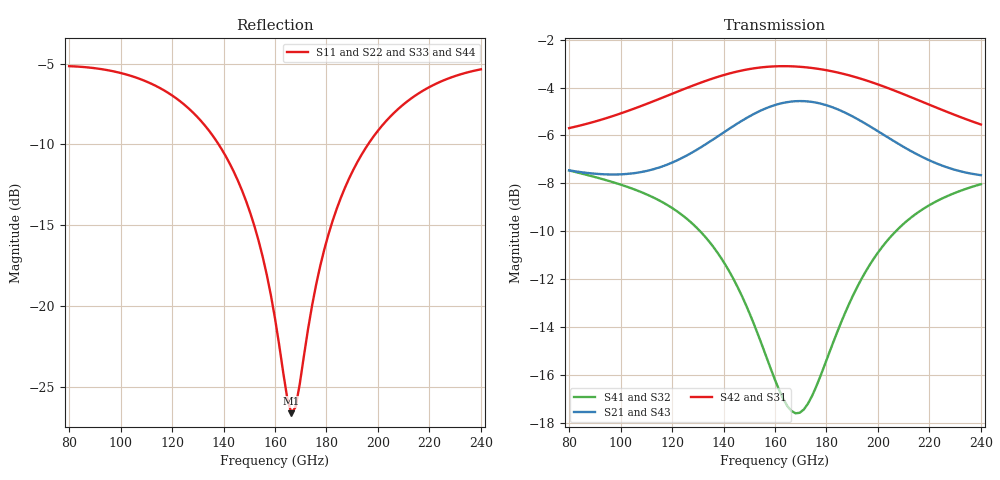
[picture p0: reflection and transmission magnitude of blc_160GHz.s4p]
#  GHZ S DB R 50
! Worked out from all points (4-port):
!   101 points, 80 GHz to 240 GHz, reference 50 ohm
!   strongest paths, dB at 80 GHz, 120 GHz, 160 GHz, 200 GHz, 240 GHz:
!     S42: -5.7, -4.3, -3.1, -3.9, -5.5
!     S31: -5.7, -4.3, -3.1, -3.9, -5.5
!     S21: -7.5, -7.1, -4.7, -5.8, -7.7
!     S43: -7.5, -7.1, -4.7, -5.8, -7.7
!     S41: -7.5, -9.0, -16.2, -10.9, -8.0
!     S32: -7.5, -9.0, -16.2, -10.9, -8.0
!   lowest |S11| = -26.6 dB at 166.4 GHz (marker M1), VSWR 1.10, Z = 54.9 - j0.209 ohm
!   |S11| at or under -10 dB: 138.1 GHz to 196.2 GHz (58.05 GHz wide, 34.7 % of centre)
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80  -5.15 157.7  -7.46 -48.6  -5.70 -79.5  -7.47 -62.1
    -7.46 -48.6  -5.15 157.8  -7.46 -62.1  -5.70 -79.5
    -5.70 -79.5  -7.46 -62.1  -5.15 157.8  -7.46 -48.7
    -7.47 -62.1  -5.70 -79.5  -7.46 -48.7  -5.15 157.7
137.6  -9.87 106.9  -6.05 -70.1  -3.56 -144.7  -10.89 -110.2
       -6.05 -70.1  -9.87 107.0  -10.88 -110.2  -3.56 -144.7
       -3.56 -144.7  -10.88 -110.2  -9.88 106.9  -6.06 -70.1
       -10.89 -110.2  -3.56 -144.7  -6.06 -70.1  -9.87 106.9
153.6  -15.95 80.4  -5.01 -83.2  -3.17 -167.2  -14.38 -117.7
       -5.01 -83.2  -15.94 80.5  -14.36 -117.7  -3.17 -167.1
       -3.17 -167.2  -14.36 -117.7  -15.96 80.3  -5.01 -83.2
       -14.38 -117.7  -3.17 -167.1  -5.01 -83.2  -15.93 80.4
166.4  -26.65 -2.3  -4.59 -96.7  -3.11 174.4  -17.52 -100.7
       -4.59 -96.7  -26.63 -2.1  -17.51 -100.8  -3.11 174.4
       -3.11 174.4  -17.51 -100.8  -26.62 -2.7  -4.59 -96.7
       -17.52 -100.7  -3.11 174.4  -4.59 -96.7  -26.61 -2.0
179.2  -16.47 -93.2  -4.71 -110.7  -3.26 156.1  -15.62 -75.3
       -4.71 -110.7  -16.48 -93.0  -15.63 -75.4  -3.26 156.2
       -3.26 156.1  -15.63 -75.4  -16.45 -93.1  -4.72 -110.7
       -15.62 -75.3  -3.26 156.2  -4.72 -110.7  -16.49 -93.0
192  -11.10 -115.1  -5.32 -123.2  -3.59 138.4  -12.33 -75.1
     -5.32 -123.2  -11.10 -115.0  -12.33 -75.1  -3.59 138.4
     -3.59 138.4  -12.33 -75.1  -11.08 -115.1  -5.32 -123.2
     -12.33 -75.1  -3.59 138.4  -5.32 -123.2  -11.10 -115.1
240  -5.35 -161.3  -7.66 -147.4  -5.55 81.3  -8.04 -115.7
     -7.66 -147.4  -5.35 -161.2  -8.04 -115.7  -5.54 81.3
     -5.55 81.3  -8.04 -115.7  -5.35 -161.3  -7.66 -147.4
     -8.04 -115.7  -5.54 81.3  -7.66 -147.4  -5.35 -161.3
